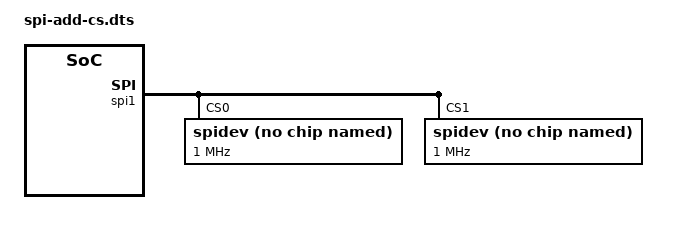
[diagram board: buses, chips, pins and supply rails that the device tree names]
/dts-v1/;
/plugin/;


/ {
	compatible = "allwinner,h616","allwinner,sun50iw9p1";

	fragment@0 {
		target = <&spi1>;
		__overlay__ {
			#address-cells = <1>;
			#size-cells = <0>;
			status = "okay";

			spidev@0 {
				reg = <0>; /* Chip Select 0 */
				compatible = "spidev";
				spi-max-frequency = <1000000>;
				status = "okay";
			};

			spidev@1 {
				reg = <1>; /* Chip Select 1 */
				compatible = "spidev";
				spi-max-frequency = <1000000>;
				status = "okay";
			};
		};
	};
};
